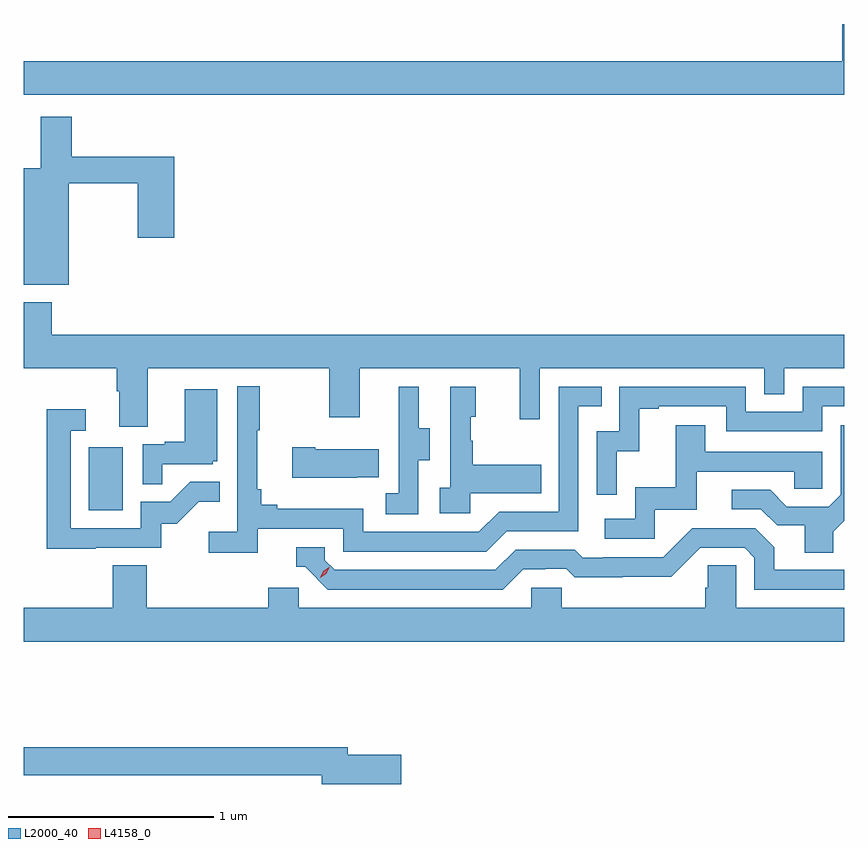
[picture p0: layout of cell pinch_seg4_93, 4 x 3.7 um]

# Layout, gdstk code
import gdstk
lib = gdstk.Library(unit=1e-6, precision=1e-09)
def R(c, l, rs):  # rectangles x0, y0, x1, y1
    for r in rs: c.add(gdstk.rectangle(r[:2], r[2:], *l))
def P(c, l, *ps):  # polygons
    for p in ps: c.add(gdstk.Polygon(p, *l))
L2000_40 = (2000, 40)
L4158_0 = (4158, 0)

pinch_seg4_93 = lib.new_cell('pinch_seg4_93')
R(pinch_seg4_93, L2000_40, [(1053.098,808.116,1053.262,808.423)])
P(pinch_seg4_93, L2000_40, [(1056.78,810.486),(1056.769,810.486),(1056.769,810.304),(1052.78,810.304),(1052.78,810.14),(1056.78,810.14)],
  [(1053.001,809.71),(1053.337,809.71),(1053.337,809.445),(1053.515,809.445),(1053.515,809.839),(1053.014,809.839),(1053.014,810.034),(1052.864,810.034),(1052.864,809.782),(1052.78,809.782),(1052.78,809.216),(1053.001,809.216)],
  [(1053.385,808.808),(1054.27,808.808),(1054.27,808.569),(1054.417,808.569),(1054.417,808.808),(1055.198,808.808),(1055.198,808.56),(1055.295,808.56),(1055.295,808.808),(1056.39,808.808),(1056.39,808.681),(1056.486,808.681),(1056.486,808.808),(1056.78,808.808),(1056.78,808.972),(1052.918,808.972),(1052.918,809.131),(1052.78,809.131),(1052.78,808.808),(1053.233,808.808),(1053.233,808.696),(1053.245,808.696),(1053.245,808.522),(1053.385,808.522)],
  [(1053.92,808.026),(1054.338,808.026),(1054.338,807.915),(1055.035,807.915),(1055.134,808.014),(1055.484,808.014),(1055.484,808.623),(1055.597,808.623),(1055.597,808.719),(1055.388,808.719),(1055.388,808.11),(1055.097,808.11),(1054.998,808.011),(1054.434,808.011),(1054.434,808.123),(1054.015,808.123),(1054.015,808.142),(1053.938,808.142),(1053.938,808.219),(1053.919,808.219),(1053.919,808.507),(1053.931,808.507),(1053.931,808.72),(1053.822,808.72),(1053.822,808.012),(1053.681,808.012),(1053.681,807.91),(1053.92,807.91)],
  [(1055.67,808.403),(1055.78,808.403),(1055.78,808.611),(1055.875,808.611),(1055.875,808.623),(1056.204,808.623),(1056.204,808.5),(1056.672,808.5),(1056.672,808.623),(1056.78,808.623),(1056.78,808.719),(1056.576,808.719),(1056.576,808.596),(1056.3,808.596),(1056.3,808.719),(1055.682,808.719),(1055.682,808.5),(1055.574,808.5),(1055.574,808.191),(1055.67,808.191)],
  [(1054.704,808.36),(1054.759,808.36),(1054.759,808.515),(1054.705,808.515),(1054.705,808.717),(1054.607,808.717),(1054.607,808.503),(1054.608,808.503),(1054.608,808.199),(1054.545,808.199),(1054.545,808.096),(1054.704,808.096)],
  [(1054.956,808.199),(1055.303,808.199),(1055.303,808.339),(1054.969,808.339),(1054.969,808.454),(1054.959,808.454),(1054.959,808.572),(1054.984,808.572),(1054.984,808.717),(1054.86,808.717),(1054.86,808.226),(1054.809,808.226),(1054.809,808.101),(1054.956,808.101)],
  [(1053.455,808.341),(1053.702,808.341),(1053.702,808.356),(1053.724,808.356),(1053.724,808.705),(1053.566,808.705),(1053.566,808.45),(1053.467,808.45),(1053.467,808.437),(1053.36,808.437),(1053.36,808.243),(1053.455,808.243)],
  [(1053.131,807.933),(1053.45,807.933),(1053.45,808.05),(1053.526,808.05),(1053.633,808.157),(1053.737,808.157),(1053.737,808.256),(1053.593,808.256),(1053.495,808.158),(1053.351,808.158),(1053.351,808.029),(1053.009,808.029),(1053.009,808.503),(1053.082,808.503),(1053.082,808.609),(1052.893,808.609),(1052.893,807.928),(1053.131,807.928)],
  [(1055.856,808.119),(1056.061,808.119),(1056.061,808.305),(1056.535,808.305),(1056.535,808.221),(1056.672,808.221),(1056.672,808.401),(1056.103,808.401),(1056.103,808.531),(1055.959,808.531),(1055.959,808.228),(1055.76,808.228),(1055.76,808.074),(1055.613,808.074),(1055.613,807.978),(1055.856,807.978)],
  [(1056.727,808.012),(1056.78,808.065),(1056.78,808.531),(1056.762,808.531),(1056.762,808.191),(1056.705,808.134),(1056.499,808.134),(1056.418,808.215),(1056.231,808.215),(1056.231,808.122),(1056.372,808.122),(1056.452,808.042),(1056.587,808.042),(1056.587,807.91),(1056.727,807.91)],
  [(1054.403,808.277),(1054.511,808.277),(1054.511,808.414),(1054.201,808.414),(1054.201,808.422),(1054.089,808.422),(1054.089,808.274),(1054.403,808.274)],
  [(1055.215,807.828),(1055.322,807.828),(1055.322,807.831),(1055.425,807.831),(1055.467,807.789),(1055.7,807.789),(1055.7,807.791),(1055.936,807.791),(1056.078,807.933),(1056.294,807.933),(1056.342,807.885),(1056.342,807.729),(1056.78,807.729),(1056.78,807.825),(1056.439,807.825),(1056.439,807.935),(1056.345,808.029),(1056.039,808.029),(1055.898,807.888),(1055.605,807.888),(1055.605,807.885),(1055.506,807.885),(1055.467,807.924),(1055.178,807.924),(1055.079,807.825),(1054.296,807.825),(1054.248,807.873),(1054.248,807.936),(1054.109,807.936),(1054.109,807.84),(1054.152,807.84),(1054.263,807.729),(1055.116,807.729)],
  [(1056.78,807.64),(1056.252,807.64),(1056.252,807.848),(1056.115,807.848),(1056.115,807.738),(1056.101,807.738),(1056.101,807.64),(1055.403,807.64),(1055.403,807.738),(1055.253,807.738),(1055.253,807.64),(1054.122,807.64),(1054.122,807.738),(1053.971,807.738),(1053.971,807.64),(1053.38,807.64),(1053.38,807.848),(1053.215,807.848),(1053.215,807.64),(1052.78,807.64),(1052.78,807.476),(1056.78,807.476)],
  [(1054.621,806.924),(1054.36,806.924),(1054.36,806.96),(1052.78,806.96),(1052.78,806.824),(1054.232,806.824),(1054.232,806.782),(1054.621,806.782)])
P(pinch_seg4_93, L4158_0, [(1054.225,807.787),(1054.225,807.787),(1054.24,807.82),(1054.271,807.84),(1054.271,807.84),(1054.271,807.84),(1054.255,807.807),(1054.225,807.787)])

lib.write_gds('pinch_seg4_93.gds')
